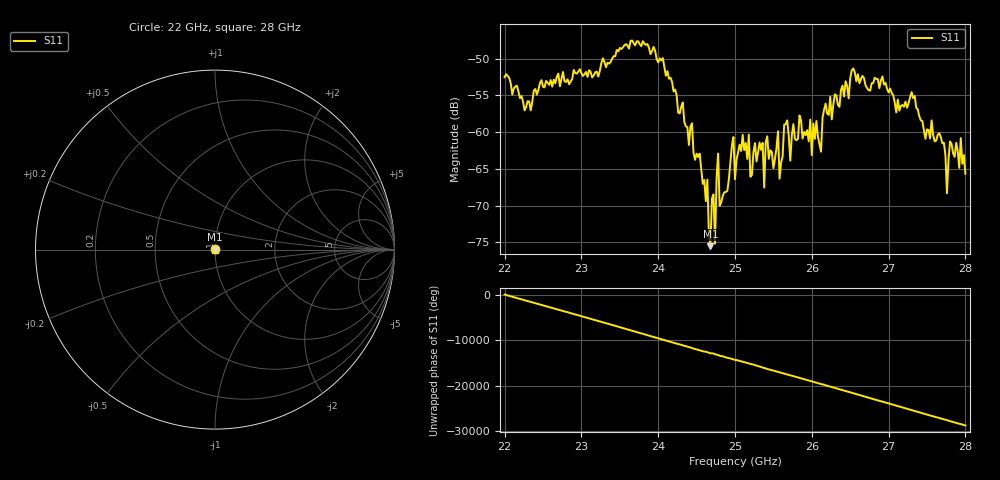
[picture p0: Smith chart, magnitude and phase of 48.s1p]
#  HZ  S  RI  R  50.00
! Rohde & Schwarz ZVA40 4Ports - Version 3.90 - 1145.1110k42 SN: 100403
! Date: 2023-10-04 08:50:15
! Measurement: S12
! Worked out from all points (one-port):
!   301 points, 22 GHz to 28 GHz, reference 50 ohm
!   lowest |S11| = -75.5 dB at 24.68 GHz (marker M1), VSWR 1.00, Z = 50 + j0.0164 ohm
!   |S11| at or under -10 dB: start of sweep to end of sweep
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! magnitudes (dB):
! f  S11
! 22 GHz  -52.5
! 22.76 GHz  -51.8
! 23.5 GHz  -48.5
! 23.94 GHz  -48.4
! 24.26 GHz  -57.3
! 24.64 GHz  -66.5
! 24.68 GHz  -75.5
! 24.72 GHz  -68.5
! 24.74 GHz  -75.2
! 24.78 GHz  -62.9
! 24.8 GHz  -70.0
! 24.98 GHz  -60.7
! 25 GHz  -66.4
! 25.18 GHz  -60.3
! 25.2 GHz  -66.1
! 25.36 GHz  -61.5
! 25.38 GHz  -67.6
! 25.4 GHz  -61.4
! 25.56 GHz  -59.9
! 25.58 GHz  -66.3
! 25.76 GHz  -58.9
! 26.12 GHz  -62.7
! 26.5 GHz  -52.7
! 27.26 GHz  -56.0
! 27.72 GHz  -61.4
! 27.76 GHz  -68.3
! 27.8 GHz  -61.3
! 28 GHz  -65.7
